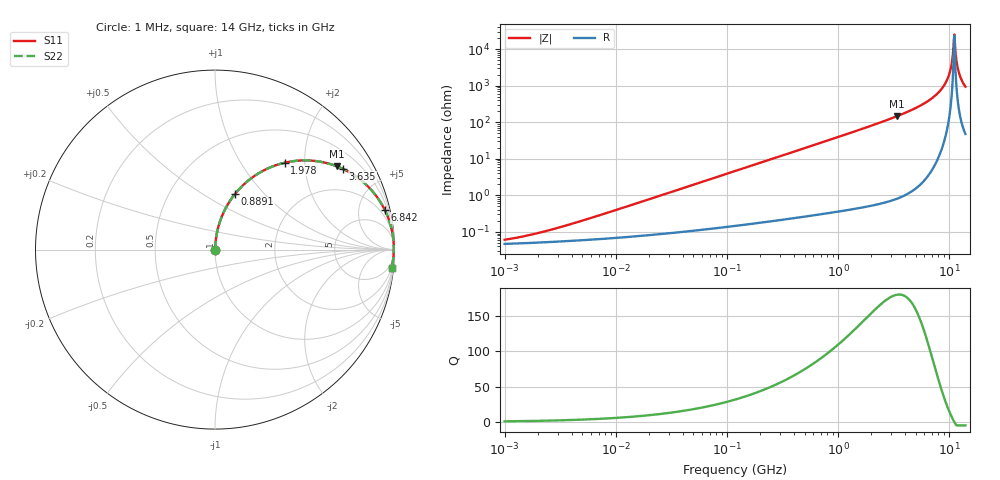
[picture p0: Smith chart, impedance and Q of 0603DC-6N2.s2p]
# MHz  S  MA  R  50
!Freq  MagS11  AngS11  MagS21  AngS21  MagS12  AngS12  MagS22  AngS22
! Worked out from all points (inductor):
!   801 points, 1 MHz to 14 GHz, reference 50 ohm
!   read as one part in series: L = 6.2 nH near 4.498 MHz
!   highest Q = 180 at 3.384 GHz (marker M1), where L = 6.83 nH
!   self-resonance near 11.03 GHz
!   S11 on the Smith chart (normalised r, x): 1 MHz: 1.00, +0.00; 889.1 MHz: 1.01, +0.70; 1.978 GHz: 1.01, +1.59; 3.635 GHz: 1.02, +3.17; 6.842 GHz: 1.09, +8.57; 14 GHz: 2, -19
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1  0.0006102 39.6  0.9995 -0.0  0.9995 -0.0  0.0006102 39.6
2.02198  0.0009391 56.9  0.9995 -0.0  0.9995 -0.0  0.0009391 56.9
4.948533  0.002016 72.8  0.9994 -0.1  0.9994 -0.1  0.002016 72.8
24.19749  0.009457 84.2  0.9991 -0.5  0.9991 -0.5  0.009457 84.2
119.742  0.04656 85.5  0.9975 -2.7  0.9975 -2.7  0.04656 85.5
585.5183  0.2224 76.4  0.9722 -12.8  0.9722 -12.8  0.2224 76.4
889.0651  0.3282 70.3  0.9414 -19.2  0.9414 -19.2  0.3282 70.3
1977.752  0.6206 51.3  0.7801 -38.4  0.7801 -38.4  0.6206 51.3
2863.085  0.7646 39.8  0.6401 -49.9  0.6401 -49.9  0.7646 39.8
3383.697  0.8215 34.4  0.5656 -55.2  0.5656 -55.2  0.8215 34.4
3634.858  0.8437 32.2  0.5322 -57.5  0.5322 -57.5  0.8437 32.2
5199.568  0.9309 21.1  0.3592 -68.6  0.3592 -68.6  0.9309 21.1
6841.769  0.9716 13.1  0.2267 -76.3  0.2267 -76.3  0.9716 13.1
8281.157  0.988 7.9  0.1367 -81.0  0.1367 -81.0  0.988 7.9
9442.788  0.9941 4.3  0.0757 -83.4  0.0757 -83.4  0.9941 4.3
10143.7  0.9958 2.4  0.04272 -83.1  0.04272 -83.1  0.9958 2.4
10767.37  0.9963 0.9  0.01555 -75.9  0.01555 -75.9  0.9963 0.9
11027.44  0.9963 0.2  0.005563 -48.2  0.005563 -48.2  0.9963 0.2
11429.38  0.996 -0.7  0.01289 71.7  0.01289 71.7  0.996 -0.7
11988.19  0.9952 -2.0  0.03448 81.1  0.03448 81.1  0.9952 -2.0
12574.31  0.9939 -3.2  0.05635 82.2  0.05635 82.2  0.9939 -3.2
14000  0.989 -6.1  0.1058 81.0  0.1058 81.0  0.989 -6.1
